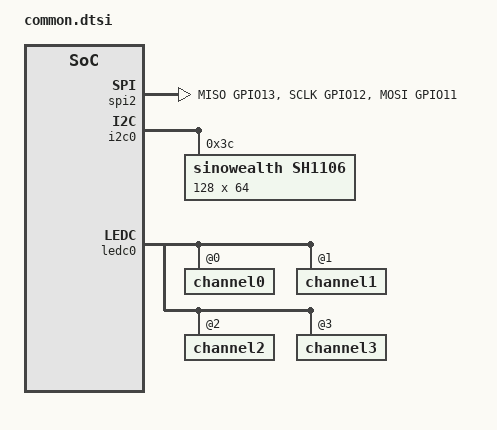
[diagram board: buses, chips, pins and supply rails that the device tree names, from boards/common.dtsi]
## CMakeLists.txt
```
cmake_minimum_required(VERSION 3.20.0)

set(SUPPORTED_MOTOR_CONTROLLERS BTS7960 VICTOR_SPX TALON_SRX JAGUAR_GREY VICTOR_888 VICTOR_884)
set(MOTOR_CONTROLLER "BTS7960")
if(NOT BOARD)
  set(BOARD esp32s3_devkitc/esp32s3/procpu)
endif()
if(EXISTS "${CMAKE_CURRENT_SOURCE_DIR}/local.conf")
  set(LOCAL_CONF_FILE "${CMAKE_CURRENT_SOURCE_DIR}/local.conf")
  set_property(DIRECTORY APPEND PROPERTY CMAKE_CONFIGURE_DEPENDS "${LOCAL_CONF_FILE}")
  file(STRINGS "${LOCAL_CONF_FILE}" MOTOR_CONTROLLER_CONFIG
    REGEX "^CONFIG_APP_MOTOR_CONTROLLER=")
  list(LENGTH MOTOR_CONTROLLER_CONFIG MOTOR_CONTROLLER_CONFIG_COUNT)
  if(MOTOR_CONTROLLER_CONFIG_COUNT GREATER 1)
    message(FATAL_ERROR "local.conf must set CONFIG_APP_MOTOR_CONTROLLER at most once")
  elseif(MOTOR_CONTROLLER_CONFIG_COUNT EQUAL 1)
    list(GET MOTOR_CONTROLLER_CONFIG 0 MOTOR_CONTROLLER_CONFIG_LINE)
    if(NOT MOTOR_CONTROLLER_CONFIG_LINE MATCHES
        "^CONFIG_APP_MOTOR_CONTROLLER=\"([A-Z0-9_]+)\"$")
      message(FATAL_ERROR
        "Set CONFIG_APP_MOTOR_CONTROLLER in local.conf to one quoted supported controller name")
    endif()
    set(MOTOR_CONTROLLER "${CMAKE_MATCH_1}")
  endif()
  list(APPEND EXTRA_CONF_FILE "${CMAKE_CURRENT_SOURCE_DIR}/local.conf")
endif()
if(NOT MOTOR_CONTROLLER IN_LIST SUPPORTED_MOTOR_CONTROLLERS)
  message(FATAL_ERROR
    "Unsupported CONFIG_APP_MOTOR_CONTROLLER='${MOTOR_CONTROLLER}'. Choose one of: ${SUPPORTED_MOTOR_CONTROLLERS}")
endif()

if(MOTOR_CONTROLLER STREQUAL "BTS7960")
  set(DTC_OVERLAY_FILE "${CMAKE_CURRENT_SOURCE_DIR}/boards/bts7960.overlay")
else()
  set(DTC_OVERLAY_FILE "${CMAKE_CURRENT_SOURCE_DIR}/boards/frc_pwm.overlay")
endif()

find_package(Zephyr 4.5.0 EXACT REQUIRED HINTS $ENV{ZEPHYR_BASE})
project(z_valve LANGUAGES C CXX)
target_include_directories(app PRIVATE include)
target_compile_definitions(app PRIVATE MOTOR_CONTROLLER=MOTOR_CONTROLLER_${MOTOR_CONTROLLER})
target_sources(app PRIVATE
  src/main.cpp
  src/valve_hardware.cpp
  src/network.cpp
  src/status_display.cpp)
```

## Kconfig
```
mainmenu "ESP32 four-valve controller"

source "Kconfig.zephyr"

config APP_MOTOR_CONTROLLER
	string "Motor controller model"
	default "BTS7960"
	help
	  Select the motor controller used by all four valves. Set this in
	  local.conf to one of: BTS7960, VICTOR_SPX, TALON_SRX, JAGUAR_GREY,
	  VICTOR_888, or VICTOR_884.

menu "Valve network configuration"

config APP_WIFI_SSID
	string "Wi-Fi SSID"
	default ""

config APP_WIFI_PASSWORD
	string "Wi-Fi WPA2 password (empty for an open network)"
	default ""

config APP_MQTT_HOST
	string "MQTT broker IPv4 address or hostname"
	default ""

config APP_MQTT_PORT
	int "MQTT TCP port"
	range 1 65535
	default 1883

config APP_MQTT_AUTH
	bool "Use MQTT username and password"

config APP_MQTT_USERNAME
	string "MQTT username"
	depends on APP_MQTT_AUTH
	default ""

config APP_MQTT_PASSWORD
	string "MQTT password"
	depends on APP_MQTT_AUTH
	default ""

config APP_MQTT_CLIENT_ID
	string "Unique MQTT client ID"
	default "heater-valves"

config APP_MQTT_ROOT
	string "MQTT root topic (no wildcards or trailing slash)"
	default "heater-valves"

endmenu
```

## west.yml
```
manifest:
  version: "0.13"
  remotes:
    - name: zephyrproject
      url-base: https://github.com/zephyrproject-rtos
  projects:
    - name: zephyr
      remote: zephyrproject
      revision: v4.5.0
      import:
        name-allowlist:
          - hal_espressif
          - mbedtls
          - tf-psa-crypto
  self:
    path: Z-Valve
```

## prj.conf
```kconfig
CONFIG_CPP=y
CONFIG_STD_CPP17=y
CONFIG_GPIO=y
CONFIG_PWM=y
CONFIG_PINCTRL=y
CONFIG_SPI=y
CONFIG_I2C=y
CONFIG_DISPLAY=y
CONFIG_SSD1306=y
CONFIG_CHARACTER_FRAMEBUFFER=y
CONFIG_CHARACTER_FRAMEBUFFER_USE_DEFAULT_FONTS=y
CONFIG_ESP_SPIRAM=n
# Match the N16R8 module's 16 MB flash in the image and flashing configuration.
CONFIG_ESPTOOLPY_FLASHSIZE_16MB=y

CONFIG_WIFI=y
CONFIG_NETWORKING=y
CONFIG_NET_L2_WIFI_MGMT=y
CONFIG_NET_IPV4=y
CONFIG_NET_IPV6=n
CONFIG_NET_DHCPV4=y
CONFIG_NET_MGMT=y
CONFIG_NET_MGMT_EVENT=y
CONFIG_NET_SOCKETS=y
CONFIG_DNS_RESOLVER=y
CONFIG_MQTT_LIB=y
CONFIG_MQTT_KEEPALIVE=30
CONFIG_NET_TCP=y
CONFIG_NET_UDP=y
CONFIG_NET_MAX_CONTEXTS=8
CONFIG_NET_PKT_RX_COUNT=16
CONFIG_NET_PKT_TX_COUNT=16
CONFIG_NET_BUF_RX_COUNT=32
CONFIG_NET_BUF_TX_COUNT=32

CONFIG_MAIN_STACK_SIZE=6144
CONFIG_MAIN_THREAD_PRIORITY=7
CONFIG_SYSTEM_WORKQUEUE_STACK_SIZE=4096
CONFIG_HEAP_MEM_POOL_SIZE=65536
CONFIG_LOG=y
CONFIG_LOG_DEFAULT_LEVEL=3
CONFIG_LOG_MODE_DEFERRED=y
CONFIG_ASSERT=y
CONFIG_THREAD_NAME=y
CONFIG_SYS_CLOCK_TICKS_PER_SEC=1000
```

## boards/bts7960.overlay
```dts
#include "common.dtsi"

&valve1 {
    pwms = <&ledc0 0 PWM_USEC(50) PWM_POLARITY_NORMAL>,
           <&ledc0 1 PWM_USEC(50) PWM_POLARITY_NORMAL>;
    enable-gpios = <&gpio0 17 GPIO_ACTIVE_HIGH>;
};
&valve2 {
    pwms = <&ledc0 2 PWM_USEC(50) PWM_POLARITY_NORMAL>,
           <&ledc0 3 PWM_USEC(50) PWM_POLARITY_NORMAL>;
    enable-gpios = <&gpio0 18 GPIO_ACTIVE_HIGH>;
};
&valve3 {
    pwms = <&ledc0 4 PWM_USEC(50) PWM_POLARITY_NORMAL>,
           <&ledc0 5 PWM_USEC(50) PWM_POLARITY_NORMAL>;
    enable-gpios = <&gpio0 19 GPIO_ACTIVE_HIGH>;
};
&valve4 {
    pwms = <&ledc0 6 PWM_USEC(50) PWM_POLARITY_NORMAL>,
           <&ledc0 7 PWM_USEC(50) PWM_POLARITY_NORMAL>;
    enable-gpios = <&gpio0 20 GPIO_ACTIVE_HIGH>;
};
&pinctrl {
    valve_pwm: valve_pwm {
        group1 {
            pinmux = <LEDC_CH0_GPIO4>, <LEDC_CH1_GPIO5>,
                     <LEDC_CH2_GPIO6>, <LEDC_CH3_GPIO7>,
                     <LEDC_CH4_GPIO8>, <LEDC_CH5_GPIO9>,
                     <LEDC_CH6_GPIO15>, <LEDC_CH7_GPIO16>;
            output-enable;
        };
    };
};
&ledc0 {
    pinctrl-0 = <&valve_pwm>;
    pinctrl-names = "default";
};
&ledc0 {
    channel4@4 { reg = <4>; timer = <0>; };
    channel5@5 { reg = <5>; timer = <0>; };
    channel6@6 { reg = <6>; timer = <0>; };
    channel7@7 { reg = <7>; timer = <0>; };
};
```

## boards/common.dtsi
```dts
#include <zephyr/dt-bindings/gpio/gpio.h>
#include <zephyr/dt-bindings/pwm/pwm.h>
#include <zephyr/dt-bindings/pinctrl/esp-pinctrl-common.h>
#include <dt-bindings/pinctrl/esp32s3-pinctrl.h>
#include <zephyr/dt-bindings/pinctrl/esp32s3-gpio-sigmap.h>

/* N16R8 exposes GPIO0-21 and GPIO38-48; reserve pads not available as GPIO. */
&gpio0 {
    gpio-reserved-ranges = <22 10>;
};
&gpio1 {
    gpio-reserved-ranges = <0 6>, <17 5>;
};

/* The module has 8 MB OPI PSRAM, but the application does not need external RAM. */
&flash0 {
    reg = <0x0 0x01000000>;
};
&psram0 {
    size = <0x00800000>;
    status = "disabled";
};

&spi2 {
    status = "okay";
    pinctrl-0 = <&spi2_reserved_pins>;
    pinctrl-names = "default";
    cs-gpios = <&gpio0 10 GPIO_ACTIVE_LOW>;
    #address-cells = <1>;
    #size-cells = <0>;
};
&spi3 { status = "disabled"; };
&esp32_bt_hci { status = "disabled"; };

/ {
    chosen {
        zephyr,display = &sh1106;
    };

    /* Provisional active-low IRQ placeholder; confirm polarity for the future SPI peripheral. */
    spi_device_irq: spi-device-irq {
        gpios = <&gpio0 14 GPIO_ACTIVE_LOW>;
    };
};

&i2c0 {
    status = "okay";

    sh1106: sh1106@3c {
        compatible = "sinowealth,sh1106";
        reg = <0x3c>;
        width = <128>;
        height = <64>;
        segment-offset = <2>;
        page-offset = <0>;
        display-offset = <0>;
        multiplex-ratio = <63>;
        segment-remap;
        com-invdir;
        prechargep = <0x22>;
    };
};

&pinctrl {
    spi2_reserved_pins: spi2_reserved_pins {
        group1 {
            pinmux = <SPIM2_MISO_GPIO13>,
                     <SPIM2_SCLK_GPIO12>;
        };
        group2 {
            pinmux = <SPIM2_MOSI_GPIO11>;
            output-low;
        };
        group3 {
            pinmux = <ESP32_PINMUX(10, ESP_NOSIG, ESP_NOSIG)>;
            output-high;
        };
        group4 {
            pinmux = <ESP32_PINMUX(14, ESP_NOSIG, ESP_NOSIG)>;
            input-enable;
        };
    };
};

/ {
    valves {
        valve1: valve1 {
            compatible = "valve-controller";
            open-limit-gpios = <&gpio1 7 GPIO_ACTIVE_LOW>;
            closed-limit-gpios = <&gpio1 8 GPIO_ACTIVE_LOW>;
        };
        valve2: valve2 {
            compatible = "valve-controller";
            open-limit-gpios = <&gpio1 9 GPIO_ACTIVE_LOW>;
            closed-limit-gpios = <&gpio1 10 GPIO_ACTIVE_LOW>;
        };
        valve3: valve3 {
            compatible = "valve-controller";
            open-limit-gpios = <&gpio1 15 GPIO_ACTIVE_LOW>;
            closed-limit-gpios = <&gpio1 16 GPIO_ACTIVE_LOW>;
        };
        valve4: valve4 {
            compatible = "valve-controller";
            open-limit-gpios = <&gpio0 21 GPIO_ACTIVE_LOW>;
            closed-limit-gpios = <&gpio1 6 GPIO_ACTIVE_LOW>;
        };
    };
};

&ledc0 {
    status = "okay";
    #address-cells = <1>;
    #size-cells = <0>;
    channel0@0 { reg = <0>; timer = <0>; };
    channel1@1 { reg = <1>; timer = <0>; };
    channel2@2 { reg = <2>; timer = <0>; };
    channel3@3 { reg = <3>; timer = <0>; };
};
```

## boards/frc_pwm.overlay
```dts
#include "common.dtsi"

/* Runtime periods and calibrated pulses come from motor_output.h. */
&valve1 { pwms = <&ledc0 0 PWM_USEC(5050) PWM_POLARITY_NORMAL>; };
&valve2 { pwms = <&ledc0 1 PWM_USEC(5050) PWM_POLARITY_NORMAL>; };
&valve3 { pwms = <&ledc0 2 PWM_USEC(5050) PWM_POLARITY_NORMAL>; };
&valve4 { pwms = <&ledc0 3 PWM_USEC(5050) PWM_POLARITY_NORMAL>; };
&pinctrl {
    valve_pwm: valve_pwm {
        group1 {
            pinmux = <LEDC_CH0_GPIO4>, <LEDC_CH1_GPIO6>,
                     <LEDC_CH2_GPIO8>, <LEDC_CH3_GPIO15>;
            output-enable;
        };
    };
};
&ledc0 {
    pinctrl-0 = <&valve_pwm>;
    pinctrl-names = "default";
};
```

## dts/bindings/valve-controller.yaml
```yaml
description: One bidirectional valve and its active-low end stops
compatible: "valve-controller"
include: base.yaml
properties:
  pwms:
    type: phandle-array
    required: true
    description: RPWM and LPWM for BTS7960, or one RC PWM signal
  enable-gpios:
    type: phandle-array
    description: One output driving both enables of a BTS7960 module
  open-limit-gpios:
    type: phandle-array
    required: true
  closed-limit-gpios:
    type: phandle-array
    required: true
  open-counterclockwise:
    type: boolean
    description: Reverse this valve's logical opening direction
```

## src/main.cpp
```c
#include <zephyr/kernel.h>
#include <zephyr/logging/log.h>

#include "network.h"
#include "status_display.h"
#include "valve_hardware.h"

LOG_MODULE_REGISTER(valve_main, LOG_LEVEL_INF);

namespace {
K_THREAD_STACK_DEFINE(motorStack, 3072);
K_THREAD_STACK_DEFINE(displayStack, 3072);
k_thread motorThreadData;
k_thread displayThreadData;
}

/*
 * Initialize valve hardware, start the high-priority motor supervisor, then manage networking.
 * If safe hardware initialization fails, return before any network command can be accepted.
 */
int main() {
    const int result = hardware::initialize();
    if (result < 0) {
        LOG_ERR("Valve initialization failed (%d); networking and motion disabled", result);
        return result;
    }

    /* Keep motor and limit supervision on its own priority-2 thread so network work cannot stall it. */
    k_tid_t tid = k_thread_create(&motorThreadData, motorStack,
        K_THREAD_STACK_SIZEOF(motorStack), hardware::motorThread,
        nullptr, nullptr, nullptr, K_PRIO_PREEMPT(2), 0, K_NO_WAIT);
    k_thread_name_set(tid, "valve-motors");

    /* Keep display I2C transfers below both motor supervision and network work. */
    tid = k_thread_create(&displayThreadData, displayStack,
        K_THREAD_STACK_SIZEOF(displayStack), status_display::thread,
        nullptr, nullptr, nullptr, K_PRIO_PREEMPT(8), 0, K_NO_WAIT);
    k_thread_name_set(tid, "status-display");

    /* The network manager owns the main thread; it never returns during normal operation. */
    runNetwork();
    return 0;
}
```

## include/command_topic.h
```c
#pragma once

#include "valve_control.h"

namespace valve {

/*
 * Match a valve command topic without assuming the incoming topic is NUL-terminated.
 * Args:
 * topic - topic bytes.
 * length - topic size in bytes.
 * root - configured topic prefix.
 * Returns: Zero-based valve index, or -1 when the topic is not a valve command.
 */
inline int commandValve(const uint8_t *topic, size_t length, const char *root) {
    const size_t prefix = strlen(root);
    if (length != prefix + 7 && length != prefix + 11) return -1;
    if (memcmp(topic, root, prefix) != 0 ||
        memcmp(topic + prefix, "/valve", 6) != 0 ||
        topic[prefix + 6] < '1' || topic[prefix + 6] > '4') return -1;
    if (length == prefix + 11 && memcmp(topic + prefix + 7, "/set", 4) != 0) return -1;
    return topic[prefix + 6] - '1';
}

}
```

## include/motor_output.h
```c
#pragma once

#include "valve_control.h"

#define MOTOR_CONTROLLER_BTS7960 1
#define MOTOR_CONTROLLER_VICTOR_SPX 2
#define MOTOR_CONTROLLER_TALON_SRX 3
#define MOTOR_CONTROLLER_JAGUAR_GREY 4
#define MOTOR_CONTROLLER_VICTOR_888 5
#define MOTOR_CONTROLLER_VICTOR_884 6

#ifndef MOTOR_CONTROLLER
#define MOTOR_CONTROLLER MOTOR_CONTROLLER_BTS7960
#endif

#if MOTOR_CONTROLLER != MOTOR_CONTROLLER_BTS7960 && \
    MOTOR_CONTROLLER != MOTOR_CONTROLLER_VICTOR_SPX && \
    MOTOR_CONTROLLER != MOTOR_CONTROLLER_TALON_SRX && \
    MOTOR_CONTROLLER != MOTOR_CONTROLLER_JAGUAR_GREY && \
    MOTOR_CONTROLLER != MOTOR_CONTROLLER_VICTOR_888 && \
    MOTOR_CONTROLLER != MOTOR_CONTROLLER_VICTOR_884
#error "Select a supported MOTOR_CONTROLLER_* value"
#endif

#ifndef FRC_PWM_SPEED_PERMILLE
#define FRC_PWM_SPEED_PERMILLE 1000
#endif

namespace motor {

constexpr bool kBts7960 = MOTOR_CONTROLLER == MOTOR_CONTROLLER_BTS7960;

#if MOTOR_CONTROLLER == MOTOR_CONTROLLER_JAGUAR_GREY
constexpr uint32_t kDefaultReverseUs = 697; // Reverse-command pulse width (us).
constexpr uint32_t kDefaultNeutralUs = 1507; // Neutral/stop pulse width (us).
constexpr uint32_t kDefaultForwardUs = 2310; // Forward-command pulse width (us).
constexpr uint32_t kDefaultPeriodUs = 5050; // PWM frame: 5.05 ms, approximately 198 Hz.
#elif MOTOR_CONTROLLER == MOTOR_CONTROLLER_VICTOR_888 || \
      MOTOR_CONTROLLER == MOTOR_CONTROLLER_VICTOR_884
constexpr uint32_t kDefaultReverseUs = 1026; // Reverse-command pulse width (us).
constexpr uint32_t kDefaultNeutralUs = 1507; // Neutral/stop pulse width (us).
constexpr uint32_t kDefaultForwardUs = 2027; // Forward-command pulse width (us).
constexpr uint32_t kDefaultPeriodUs = 10100; // PWM frame: 10.1 ms, approximately 99 Hz.
#else
constexpr uint32_t kDefaultReverseUs = 997; // Reverse-command pulse width (us).
constexpr uint32_t kDefaultNeutralUs = 1500; // Neutral/stop pulse width (us).
constexpr uint32_t kDefaultForwardUs = 2004; // Forward-command pulse width (us).
constexpr uint32_t kDefaultPeriodUs = 5050; // PWM frame: 5.05 ms, approximately 198 Hz.
#endif

#ifndef FRC_PWM_PERIOD_US
#define FRC_PWM_PERIOD_US motor::kDefaultPeriodUs
#endif
#ifndef FRC_PWM_REVERSE_US
#define FRC_PWM_REVERSE_US motor::kDefaultReverseUs
#endif
#ifndef FRC_PWM_NEUTRAL_US
#define FRC_PWM_NEUTRAL_US motor::kDefaultNeutralUs
#endif
#ifndef FRC_PWM_FORWARD_US
#define FRC_PWM_FORWARD_US motor::kDefaultForwardUs
#endif

constexpr uint32_t kPwmFrequencyHz = kBts7960 ? 20000 :
    (1000000UL + FRC_PWM_PERIOD_US / 2) / FRC_PWM_PERIOD_US;
// ESP32 LEDC selects integer Hz; use that same frame when calculating pulse duty.
constexpr uint32_t kPeriodNs = 1000000000UL / kPwmFrequencyHz;
constexpr uint32_t kReverseUs = FRC_PWM_REVERSE_US;
constexpr uint32_t kNeutralUs = FRC_PWM_NEUTRAL_US;
constexpr uint32_t kForwardUs = FRC_PWM_FORWARD_US;
constexpr uint32_t kSpeedPermille = FRC_PWM_SPEED_PERMILLE;
constexpr uint32_t kReversalDelayMs = 100;
constexpr uint32_t kMaxTravelMs = 120000;
constexpr uint32_t kStatusIntervalMs = 60000;
constexpr unsigned kValveCount = 4;
constexpr uint32_t kMotorDuty = 255;
constexpr uint32_t kMotorPulseNs = kPeriodNs * kMotorDuty / 255;

constexpr const char *kControllerName =
#if MOTOR_CONTROLLER == MOTOR_CONTROLLER_BTS7960
    "BTS7960";
#elif MOTOR_CONTROLLER == MOTOR_CONTROLLER_VICTOR_SPX
    "Victor SPX";
#elif MOTOR_CONTROLLER == MOTOR_CONTROLLER_TALON_SRX
    "Talon SRX";
#elif MOTOR_CONTROLLER == MOTOR_CONTROLLER_JAGUAR_GREY
    "Jaguar Grey (MDL-BDC24)";
#elif MOTOR_CONTROLLER == MOTOR_CONTROLLER_VICTOR_888
    "Victor 888";
#else
    "Victor 884";
#endif

static_assert(kMotorDuty > 0 && kMotorDuty <= 255, "Invalid BTS7960 duty");
static_assert(FRC_PWM_PERIOD_US >= 5000 && FRC_PWM_PERIOD_US <= 30000,
              "RC PWM frame must be 5-30 ms");
static_assert(kReverseUs >= 500 && kReverseUs < kNeutralUs &&
              kNeutralUs < kForwardUs && kForwardUs <= 2500 &&
              kForwardUs * 1000 < FRC_PWM_PERIOD_US * 1000, "Invalid RC PWM calibration");
static_assert(kSpeedPermille > 0 && kSpeedPermille <= 1000, "Invalid RC PWM speed");

struct Output {
    uint32_t primaryNs;
    uint32_t secondaryNs;
    bool enabled;
};

/*
 * Map logical valve motion and opening direction to motor-driver outputs.
 * Args:
 * motion - requested motion.
 * openClockwise - whether opening is clockwise.
 * Returns: PWM pulse widths in ns and whether the output should be enabled.
 */
inline Output outputFor(valve::Motion motion, bool openClockwise) {
    const bool clockwise = (motion == valve::Motion::Opening) == openClockwise;
    if (kBts7960) {
        if (motion == valve::Motion::Stopped) return {0, 0, false};
        return {clockwise ? kMotorPulseNs : 0, clockwise ? 0 : kMotorPulseNs, true};
    }
    uint32_t pulseUs = kNeutralUs;
    if (motion != valve::Motion::Stopped) {
        pulseUs = clockwise
            ? kNeutralUs + (kForwardUs - kNeutralUs) * kSpeedPermille / 1000
            : kNeutralUs - (kNeutralUs - kReverseUs) * kSpeedPermille / 1000;
    }
    return {pulseUs * 1000, 0, motion != valve::Motion::Stopped};
}

}
```

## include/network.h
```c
#pragma once

#include <stdint.h>

namespace network {

struct DisplaySnapshot {
    bool wifiUp = false;
    bool mqttUp = false;
    uint8_t ipv4[4]{};
};

/*
 * Return the last observed network state and a copied IPv4 address for display.
 * Returns: Wi-Fi/MQTT readiness and the preferred IPv4 address, if available.
 */
DisplaySnapshot displaySnapshot();

}

/*
 * Run Wi-Fi and MQTT connection management, command reception, and status reporting.
 * Args: None.
 * Returns: None; the network manager runs indefinitely.
 */
void runNetwork();
```

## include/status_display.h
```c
#pragma once

#include <stdint.h>
#include <stdio.h>
#include <string.h>

#include "valve_control.h"

namespace status_display {

constexpr unsigned kLineCount = 4;
constexpr unsigned kLineBufferSize = 20;

/*
 * Map a valve state to the short label used on the display.
 * Args: status - latest valve state.
 * Returns: A static abbreviated status label.
 */
inline const char *motorLabel(valve::Status status) {
    switch (status) {
    case valve::Status::Open: return "Opn";
    case valve::Status::Closed: return "Clsd";
    case valve::Status::Error: return "ERR";
    case valve::Status::Opening:
    case valve::Status::Closing: return "Mov";
    default: return "Unk";
    }
}

/*
 * Format the IP, MQTT, and four per-valve statuses into four 128-pixel display rows.
 * Args: wifiUp/mqttUp - connection state; ipv4 - address octets; motorStatuses - four valve states;
 * lines - receives the four null-terminated display rows.
 * Returns: None.
 */
inline void formatLines(bool wifiUp, bool mqttUp, const uint8_t ipv4[4],
                        const valve::Status *motorStatuses,
                        char (&lines)[kLineCount][kLineBufferSize]) {
    if (wifiUp) {
        snprintf(lines[0], kLineBufferSize, "%u.%u.%u.%u",
                 static_cast<unsigned>(ipv4[0]), static_cast<unsigned>(ipv4[1]),
                 static_cast<unsigned>(ipv4[2]), static_cast<unsigned>(ipv4[3]));
    } else {
        strcpy(lines[0], "Down");
    }
    snprintf(lines[1], kLineBufferSize, "MQTT %s", wifiUp && mqttUp ? "Up" : "Down");
    snprintf(lines[2], kLineBufferSize, "M1:%s M2:%s",
             motorLabel(motorStatuses[0]), motorLabel(motorStatuses[1]));
    snprintf(lines[3], kLineBufferSize, "M3:%s M4:%s",
             motorLabel(motorStatuses[2]), motorLabel(motorStatuses[3]));
}

/*
 * Initialize the SH1106 and refresh it when network or motor state changes and once a minute.
 * Args: p1, p2, p3 - unused Zephyr thread-entry parameters.
 * Returns: None; the display thread runs until initialization fails or the system stops.
 */
void thread(void *, void *, void *);

}
```

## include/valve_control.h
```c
#pragma once

#include <stddef.h>
#include <stdint.h>
#include <string.h>

namespace valve {

enum class Command : uint8_t { Invalid, Open, Close };
enum class Motion : uint8_t { Stopped, Opening, Closing };
enum class Status : uint8_t { Unknown, Open, Closed, Opening, Closing, Error };

struct Limits {
    bool open;
    bool closed;
};

/*
 * Parse an exact lowercase open/close MQTT command payload.
 * Args:
 * payload - payload bytes.
 * length - payload size in bytes.
 * Returns: The parsed command, or Command::Invalid if it is unsupported.
 */
inline Command parseCommand(const uint8_t *payload, size_t length) {
    if ((length == 4 && memcmp(payload, "open", 4) == 0) ||
        (length == 2 && memcmp(payload, "on", 2) == 0)) {
        return Command::Open;
    }
    if ((length == 5 && memcmp(payload, "close", 5) == 0) ||
        (length == 3 && memcmp(payload, "off", 3) == 0)) {
        return Command::Close;
    }
    return Command::Invalid;
}

/*
 * Return the stable MQTT text corresponding to a valve status.
 * Args: status - valve status to convert.
 * Returns: A pointer to a static, null-terminated status string.
 */
inline const char *statusName(Status status) {
    switch (status) {
    case Status::Open: return "open";
    case Status::Closed: return "closed";
    case Status::Opening: return "opening";
    case Status::Closing: return "closing";
    case Status::Error: return "error";
    default: return "unknown";
    }
}

// Port of the Arduino controller's independent, rollover-safe motion state machine.
class Control {
public:
    /*
     * Configure the minimum stopped interval for reversals and maximum travel time.
     * Args:
     * reversalDelayMs - minimum stopped time.
     * maxTravelMs - maximum continuous travel.
     * Returns: None.
     */
    explicit Control(uint32_t reversalDelayMs = 100, uint32_t maxTravelMs = 120000)
        : reversalDelayMs_(reversalDelayMs), maxTravelMs_(maxTravelMs) {}

    /*
     * Apply a new motion request after enforcing current limits and travel timeout.
     * Args:
     * command - requested direction.
     * limits - sampled end stops.
     * now - current uptime in ms.
     * Returns: None.
     */
    void request(Command command, Limits limits, uint32_t now) {
        update(limits, now);
        if (command == Command::Invalid) {
            return;
        }
        const Motion requested = command == Command::Open ? Motion::Opening : Motion::Closing;
        if (blocked(requested, limits)) {
            stop(now);
            return;
        }
        if (motion_ == requested) {
            return;
        }
        stop(now);
        pending_ = requested;
        update(limits, now);
    }

    /*
     * Enforce end stops, conflicts, travel timeout, and any pending reversal.
     * Args:
     * limits - sampled end stops.
     * now - current uptime in ms.
     * Returns: None.
     */
    void update(Limits limits, uint32_t now) {
        if ((limits.open && limits.closed) || blocked(motion_, limits) ||
            blocked(pending_, limits)) {
            stop(now);
            return;
        }
        if (motion_ != Motion::Stopped && now - startedAt_ >= maxTravelMs_) {
            stop(now);
            return;
        }
        if (pending_ != Motion::Stopped && now - stoppedAt_ >= reversalDelayMs_) {
            motion_ = pending_;
            pending_ = Motion::Stopped;
            startedAt_ = now;
        }
    }

    /*
     * Read the currently applied motion direction.
     * Args: None.
     * Returns: The current motion state.
     */
    Motion motion() const { return motion_; }

    /*
     * Determine valve status, giving physical end stops priority over motion.
     * Args: limits - sampled end stops.
     * Returns: The reported valve status.
     */
    Status status(Limits limits) const {
        if (limits.open && limits.closed) return Status::Error;
        if (limits.open) return Status::Open;
        if (limits.closed) return Status::Closed;
        if (motion_ == Motion::Opening) return Status::Opening;
        if (motion_ == Motion::Closing) return Status::Closing;
        return Status::Unknown;
    }

private:
    /*
     * Check whether a direction is blocked by its destination end stop.
     * Args:
     * motion - direction to check.
     * limits - sampled end stops.
     * Returns: True when the destination limit blocks the direction.
     */
    static bool blocked(Motion motion, Limits limits) {
        return (motion == Motion::Opening && limits.open) ||
               (motion == Motion::Closing && limits.closed);
    }

    /*
     * Stop active and pending motion while recording the stop time when needed.
     * Args: now - current uptime in ms.
     * Returns: None.
     */
    void stop(uint32_t now) {
        if (motion_ != Motion::Stopped) {
            stoppedAt_ = now;
        }
        motion_ = Motion::Stopped;
        pending_ = Motion::Stopped;
    }

    Motion motion_ = Motion::Stopped;
    Motion pending_ = Motion::Stopped;
    uint32_t startedAt_ = 0;
    uint32_t stoppedAt_ = 0;
    const uint32_t reversalDelayMs_;
    const uint32_t maxTravelMs_;
};

}
```

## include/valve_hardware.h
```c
#pragma once

#include "motor_output.h"

namespace hardware {

/*
 * Check required GPIO/PWM devices and initialize all valve outputs and limit inputs.
 * Args: None.
 * Returns: Zero on success or a negative errno value on failure.
 */
int initialize();

/*
 * Continuously supervise valve commands, limits, and motor outputs.
 * Args:
 * p1 - unused Zephyr thread-entry parameter.
 * p2 - unused Zephyr thread-entry parameter.
 * p3 - unused Zephyr thread-entry parameter.
 * Returns: None; the supervisor thread runs indefinitely.
 */
void motorThread(void *, void *, void *);

/*
 * Submit the latest command for one valve to the motor supervisor.
 * Args:
 * index - zero-based valve index.
 * command - requested valve command.
 * Returns: None.
 */
void submit(unsigned index, valve::Command command);

/*
 * Read the most recently sampled status for one valve.
 * Args: index - zero-based valve index.
 * Returns: The latest valve status.
 */
valve::Status status(unsigned index);

}
```

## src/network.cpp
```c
#include <stdio.h>
#include <string.h>

#include <zephyr/kernel.h>
#include <zephyr/logging/log.h>
#include <zephyr/net/dhcpv4.h>
#include <zephyr/net/mqtt.h>
#include <zephyr/net/net_event.h>
#include <zephyr/net/net_if.h>
#include <zephyr/net/socket.h>
#include <zephyr/net/wifi_mgmt.h>
#include <zephyr/sys/atomic.h>

#include "command_topic.h"
#include "network.h"
#include "valve_hardware.h"

LOG_MODULE_REGISTER(valve_network, LOG_LEVEL_INF);

namespace {

constexpr char root[] = CONFIG_APP_MQTT_ROOT;
constexpr char availability[] = CONFIG_APP_MQTT_ROOT "/availability";
constexpr int64_t reconnectMs = 5000;
static_assert(sizeof(root) <= 80, "MQTT root must be at most 79 characters");

net_mgmt_event_callback wifiCallback;
atomic_t wifiConnected;
atomic_t mqttReady;
net_if *wifiInterface;
mqtt_client client;
sockaddr_in broker;
uint8_t rxBuffer[512];
uint8_t txBuffer[512];
bool connected;
bool subscribed;
int sessionError;
int64_t pingDeadline;
unsigned nextValve;
int64_t nextPeriodic;
valve::Status published[motor::kValveCount];
bool publishedValid[motor::kValveCount];
K_MUTEX_DEFINE(displayStatusMutex);
network::DisplaySnapshot publishedDisplayStatus;

/*
 * Convert a NUL-terminated application string to the length-delimited MQTT representation.
 * Args: text - source string whose storage must remain valid while the MQTT object is in use.
 * Returns: MQTT UTF-8 view of the string; it does not copy the bytes.
 */
mqtt_utf8 utf8(const char *text) {
    return {reinterpret_cast<const uint8_t *>(text), static_cast<uint32_t>(strlen(text))};
}

/*
 * Track station connection events and start/stop DHCP with the link.
 * Args: callback - event callback carrying the Wi-Fi result; event - event identifier;
 * iface - interface that generated the event.
 * Returns: None.
 */
void wifiEvent(net_mgmt_event_callback *callback, uint64_t event, net_if *iface) {
    if (iface != wifiInterface) return;
    if (event == NET_EVENT_WIFI_CONNECT_RESULT) {
        const auto *result = static_cast<const wifi_status *>(callback->info);
        if (result == nullptr || result->status != 0) {
            atomic_clear(&wifiConnected);
            atomic_clear(&mqttReady);
            LOG_WRN("Wi-Fi connection failed: %d", result ? result->status : -EIO);
            return;
        }
        atomic_set(&wifiConnected, 1);
        /* DHCP starts only after successful association; a link alone is not broker-ready. */
        net_dhcpv4_start(iface);
        LOG_INF("Wi-Fi connected; waiting for DHCP");
    } else if (event == NET_EVENT_WIFI_DISCONNECT_RESULT) {
        atomic_clear(&wifiConnected);
        atomic_clear(&mqttReady);
        /* Stop DHCP so an old lease is not mistaken for a usable connection. */
        net_dhcpv4_stop(iface);
        LOG_WRN("Wi-Fi disconnected");
    }
}

/*
 * Require both an associated Wi-Fi link and a preferred IPv4 address before opening MQTT.
 * Args: None.
 * Returns: True when the station can route broker traffic.
 */
bool networkReady() {
    if (wifiInterface == nullptr || atomic_get(&wifiConnected) == 0) return false;
    const in_addr *address = net_if_ipv4_get_global_addr(wifiInterface, NET_ADDR_PREFERRED);
    return address != nullptr && !net_ipv4_is_addr_unspecified(address);
}

/*
 * Cache Wi-Fi/IP status under a mutex for the lower-priority display thread.
 * Args: None.
 * Returns: None.
 */
void updateDisplaySnapshot() {
    network::DisplaySnapshot snapshot{};
    if (networkReady()) {
        const in_addr *address = net_if_ipv4_get_global_addr(wifiInterface, NET_ADDR_PREFERRED);
        if (address != nullptr && !net_ipv4_is_addr_unspecified(address)) {
            snapshot.wifiUp = true;
            memcpy(snapshot.ipv4, address->s4_addr, sizeof(snapshot.ipv4));
        }
    }
    k_mutex_lock(&displayStatusMutex, K_FOREVER);
    publishedDisplayStatus = snapshot;
    k_mutex_unlock(&displayStatusMutex);
}

/*
 * Request a station connection using the configured open-network or WPA2 credentials.
 * Args: None.
 * Returns: None; request failures are logged and retried by runNetwork.
 */
void requestWifi() {
    wifi_connect_req_params params{};
    params.ssid = reinterpret_cast<const uint8_t *>(CONFIG_APP_WIFI_SSID);
    params.ssid_length = strlen(CONFIG_APP_WIFI_SSID);
    params.psk = reinterpret_cast<const uint8_t *>(CONFIG_APP_WIFI_PASSWORD);
    params.psk_length = strlen(CONFIG_APP_WIFI_PASSWORD);
    params.channel = WIFI_CHANNEL_ANY;
    params.band = WIFI_FREQ_BAND_2_4_GHZ;
    params.security = params.psk_length ? WIFI_SECURITY_TYPE_PSK : WIFI_SECURITY_TYPE_NONE;
    params.mfp = WIFI_MFP_OPTIONAL;
    params.timeout = 10;
    const int result = net_mgmt(NET_REQUEST_WIFI_CONNECT, wifiInterface, &params, sizeof(params));
    if (result < 0 && result != -EALREADY) LOG_WRN("Wi-Fi request failed: %d", result);
}

/*
 * Publish a retained QoS 0 text value, used for availability and valve states.
 * Args: topic - destination topic; text - NUL-terminated payload.
 * Returns: Zero on success or a negative MQTT error.
 */
int publishText(const char *topic, const char *text) {
    uint8_t payload[16];
    const size_t length = strlen(text);
    if (length > sizeof(payload)) return -EMSGSIZE;
    memcpy(payload, text, length);
    mqtt_publish_param param{};
    param.message.topic.topic = utf8(topic);
    param.message.topic.qos = MQTT_QOS_0_AT_MOST_ONCE;
    param.message.payload = {payload, static_cast<uint32_t>(length)};
    param.retain_flag = 1;
    return mqtt_publish(&client, &param);
}

/*
 * Read a complete fragmented publish payload before the MQTT stream is used again.
 * Args: payload - destination buffer; length - exact payload size to read.
 * Returns: Zero when complete, or a negative socket/MQTT error or timeout.
 */
int readPayload(uint8_t *payload, size_t length) {
    size_t read = 0;
    const int64_t deadline = k_uptime_get() + 1000;
    while (read < length) {
        const int result = mqtt_read_publish_payload(&client, payload + read, length - read);
        if (result > 0) {
            read += result;
        } else if (result == 0) {
            return -ECONNRESET;
        } else if (result != -EAGAIN) {
            return result;
        } else {
            if (k_uptime_get() >= deadline) return -ETIMEDOUT;
            zsock_pollfd fd{client.transport.tcp.sock, ZSOCK_POLLIN, 0};
            const int polled = zsock_poll(&fd, 1, 50);
            if (polled < 0) return -errno;
            if (fd.revents & (ZSOCK_POLLERR | ZSOCK_POLLHUP | ZSOCK_POLLNVAL)) {
                return -ECONNRESET;
            }
        }
    }
    return 0;
}

/*
 * Match, validate, and queue one valve command, acknowledging QoS 1 only after reading it.
 * Args: param - decoded MQTT publish metadata and payload length.
 * Returns: None; a fatal read/ack error is recorded in sessionError.
 */
void receiveCommand(const mqtt_publish_param &param) {
    const mqtt_utf8 &topic = param.message.topic.topic;
    const int index = valve::commandValve(topic.utf8, topic.size, root);
    /* Disconnect on unsupported QoS or oversized input rather than desynchronizing MQTT payload reads. */
    if (param.message.payload.len > sizeof(rxBuffer) ||
        param.message.topic.qos > MQTT_QOS_1_AT_LEAST_ONCE) {
        LOG_WRN("Rejecting oversized command or unexpected QoS");
        sessionError = -EMSGSIZE;
        return;
    }
    uint8_t payload[sizeof(rxBuffer)]{};
    sessionError = readPayload(payload, param.message.payload.len);
    if (sessionError < 0) return;
    const valve::Command command = valve::parseCommand(payload, param.message.payload.len);
    if (index >= 0 && command != valve::Command::Invalid) {
        if (param.retain_flag) LOG_WRN("Retained command replay received; clear retained commands");
        hardware::submit(static_cast<unsigned>(index), command);
    } else if (index >= 0) {
        LOG_WRN("Ignoring invalid command topic or payload");
    }
    if (param.message.topic.qos == MQTT_QOS_1_AT_LEAST_ONCE) {
        /* Acknowledge only after consuming the payload, so redelivery remains possible on read failure. */
        mqtt_puback_param ack{};
        ack.message_id = param.message_id;
        sessionError = mqtt_publish_qos1_ack(&client, &ack);
    }
}

/*
 * Update connection/subscription state and dispatch incoming publishes.
 * Args: client - MQTT client associated with the event; event - decoded event and result.
 * Returns: None; errors are saved for serviceMqtt to terminate the session.
 */
void mqttEvent(mqtt_client *, const mqtt_evt *event) {
    if (event->result != 0) {
        atomic_clear(&mqttReady);
        sessionError = event->result < 0 ? event->result : -ECONNREFUSED;
        return;
    }
    switch (event->type) {
    case MQTT_EVT_CONNACK:
        if (event->param.connack.return_code != MQTT_CONNECTION_ACCEPTED) {
            atomic_clear(&mqttReady);
            sessionError = -ECONNREFUSED;
        } else {
            connected = true;
        }
        break;
    case MQTT_EVT_DISCONNECT:
        connected = false;
        atomic_clear(&mqttReady);
        sessionError = -ECONNRESET;
        break;
    case MQTT_EVT_SUBACK: {
        const mqtt_binstr &codes = event->param.suback.return_codes;
        /* Require both command filters to be accepted before publishing availability or state. */
        if (event->param.suback.message_id != 1 || codes.len != 2 ||
            codes.data[0] > MQTT_SUBACK_SUCCESS_QoS_1 ||
            codes.data[1] > MQTT_SUBACK_SUCCESS_QoS_1) {
            LOG_ERR("Broker rejected command subscriptions");
            atomic_clear(&mqttReady);
            sessionError = -EACCES;
        } else {
            subscribed = true;
        }
        break;
    }
    case MQTT_EVT_PUBLISH:
        receiveCommand(event->param.publish);
        break;
    default:
        break;
    }
}

/*
 * Poll the MQTT socket without blocking valve supervision, then process packets and keepalive.
 * Args: None.
 * Returns: Zero while healthy, or a negative error to end and reconnect the session.
 */
int serviceMqtt() {
    if (!networkReady()) return -ENETDOWN;
    zsock_pollfd fd{client.transport.tcp.sock, ZSOCK_POLLIN, 0};
    const int result = zsock_poll(&fd, 1, 100);
    if (result < 0) return -errno;
    if (fd.revents & (ZSOCK_POLLERR | ZSOCK_POLLHUP | ZSOCK_POLLNVAL)) return -ECONNRESET;
    if (fd.revents & ZSOCK_POLLIN) {
        const int input = mqtt_input(&client);
        if (input < 0 && input != -EAGAIN) return input;
    }
    if (sessionError < 0) return sessionError;
    if (connected) {
        /* mqtt_live sends keepalives; bound the time spent waiting for a broker ping response. */
        if (client.unacked_ping == 0) pingDeadline = 0;
        if (pingDeadline != 0 && k_uptime_get() >= pingDeadline) return -ETIMEDOUT;
        const int live = mqtt_live(&client);
        if (live < 0 && live != -EAGAIN) return live;
        if (client.unacked_ping > 0 && pingDeadline == 0) {
            pingDeadline = k_uptime_get() + 10000;
        }
    }
    return 0;
}

/*
 * Service MQTT until a connection or subscription callback sets the requested flag.
 * Args: flag - connection state to wait for.
 * Returns: Zero when set, or a negative session error/timeout.
 */
int waitFor(bool &flag) {
    const int64_t deadline = k_uptime_get() + 10000;
    while (!flag) {
        const int result = serviceMqtt();
        if (result < 0) return result;
        if (k_uptime_get() >= deadline) return -ETIMEDOUT;
    }
    return 0;
}

/*
 * Publish one retained valve state and update the local cache only after success.
 * Args: index - zero-based valve index.
 * Returns: Zero on success or a negative MQTT error.
 */
int publishStatus(unsigned index) {
    char topic[128];
    snprintf(topic, sizeof(topic), "%s/valve%u/state", root, index + 1);
    const valve::Status status = hardware::status(index);
    const int result = publishText(topic, valve::statusName(status));
    if (result == 0) {
        published[index] = status;
        publishedValid[index] = true;
    }
    return result;
}

/*
 * Publish all changed states promptly and refresh one valve periodically in round-robin order.
 * Args: None.
 * Returns: Zero on success or a negative MQTT error; failed periodic reports retry without advancing.
 */
int reportStatuses() {
    for (unsigned index = 0; index < motor::kValveCount; ++index) {
        if (!publishedValid[index] || hardware::status(index) != published[index]) {
            const int result = publishStatus(index);
            if (result < 0) return result;
        }
    }
    const int64_t now = k_uptime_get();
    if (now >= nextPeriodic) {
        const int result = publishStatus(nextValve);
        if (result < 0) {
            nextPeriodic = now + 2000;
            return result;
        }
        nextValve = (nextValve + 1) % motor::kValveCount;
        nextPeriodic = now + motor::kStatusIntervalMs;
    }
    return 0;
}

/*
 * Resolve the configured broker to an IPv4 socket address and release resolver storage.
 * Args: None.
 * Returns: Zero on success or a negative DNS/address error.
 */
int resolveBroker() {
    zsock_addrinfo hints{};
    hints.ai_family = AF_INET;
    hints.ai_socktype = SOCK_STREAM;
    zsock_addrinfo *addresses = nullptr;
    const int result = zsock_getaddrinfo(CONFIG_APP_MQTT_HOST, nullptr, &hints, &addresses);
    if (result != 0) {
        LOG_WRN("Broker DNS lookup failed: %d", result);
        return -EHOSTUNREACH;
    }
    if (addresses == nullptr || addresses->ai_addrlen != sizeof(broker)) {
        if (addresses != nullptr) zsock_freeaddrinfo(addresses);
        return -EADDRNOTAVAIL;
    }
    memcpy(&broker, addresses->ai_addr, sizeof(broker));
    broker.sin_port = htons(CONFIG_APP_MQTT_PORT);
    zsock_freeaddrinfo(addresses);
    return 0;
}

/*
 * Configure a clean MQTT session, establish subscriptions, and service it until failure.
 * The retained offline will is registered before connecting and takes effect when the socket aborts.
 * Args: None.
 * Returns: Zero only for a normal session end, otherwise a negative network/MQTT error.
 */
int mqttSession() {
    atomic_clear(&mqttReady);
    int result = resolveBroker();
    if (result < 0) return result;
    mqtt_client_init(&client);
    connected = false;
    subscribed = false;
    sessionError = 0;
    pingDeadline = 0;
    client.broker = &broker;
    client.evt_cb = mqttEvent;
    client.client_id = utf8(CONFIG_APP_MQTT_CLIENT_ID);
    client.protocol_version = MQTT_VERSION_3_1_1;
    client.transport.type = MQTT_TRANSPORT_NON_SECURE;
    client.rx_buf = rxBuffer;
    client.rx_buf_size = sizeof(rxBuffer);
    client.tx_buf = txBuffer;
    client.tx_buf_size = sizeof(txBuffer);
    client.keepalive = 30;
    client.clean_session = 1;
    /* Broker publishes retained offline if this connection disappears without a graceful disconnect. */
    mqtt_topic willTopic{utf8(availability), MQTT_QOS_0_AT_MOST_ONCE};
    mqtt_utf8 willMessage = utf8("offline");
    client.will_topic = &willTopic;
    client.will_message = &willMessage;
    client.will_retain = 1;
#if defined(CONFIG_APP_MQTT_AUTH)
    mqtt_utf8 username = utf8(CONFIG_APP_MQTT_USERNAME);
    mqtt_utf8 password = utf8(CONFIG_APP_MQTT_PASSWORD);
    client.user_name = &username;
    client.password = &password;
#endif
    result = mqtt_connect(&client);
    if (result < 0) return result;
    result = waitFor(connected);
    if (result == 0) {
        /* Subscribe to both supported command forms at QoS 1 before advertising availability. */
        mqtt_topic topics[] = {
            {utf8(CONFIG_APP_MQTT_ROOT "/+"), MQTT_QOS_1_AT_LEAST_ONCE},
            {utf8(CONFIG_APP_MQTT_ROOT "/+/set"), MQTT_QOS_1_AT_LEAST_ONCE},
        };
        mqtt_subscription_list subscriptions{};
        subscriptions.list = topics;
        subscriptions.list_count = ARRAY_SIZE(topics);
        subscriptions.message_id = 1;
        result = mqtt_subscribe(&client, &subscriptions);
    }
    if (result == 0) result = waitFor(subscribed);
    if (result == 0) result = publishText(availability, "online");
    if (result == 0) {
        memset(publishedValid, 0, sizeof(publishedValid));
        atomic_set(&mqttReady, 1);
        LOG_INF("MQTT connected and subscribed");
    }
    while (result == 0) {
        result = reportStatuses();
        if (result == 0) result = serviceMqtt();
    }
    atomic_clear(&mqttReady);
    /* Abort so the broker publishes the offline will, rather than leaving "online" retained. */
    const int aborted = mqtt_abort(&client);
    if (aborted < 0 && aborted != -ENOTCONN) LOG_WRN("MQTT socket cleanup failed: %d", aborted);
    return result;
}

/*
 * Reject missing or malformed Wi-Fi, broker, client-ID, and MQTT-root settings before connecting.
 * Args: None.
 * Returns: True when required values and supported lengths are valid.
 */
bool validConfiguration() {
    const size_t ssidLength = strlen(CONFIG_APP_WIFI_SSID);
    const size_t passwordLength = strlen(CONFIG_APP_WIFI_PASSWORD);
    if (ssidLength == 0 || ssidLength > 32 ||
        (passwordLength != 0 && (passwordLength < 8 || passwordLength > 63)) ||
        strlen(CONFIG_APP_MQTT_HOST) == 0 || strlen(CONFIG_APP_MQTT_CLIENT_ID) == 0 ||
        root[0] == '\0' || root[sizeof(root) - 2] == '/' || strpbrk(root, "+#") != nullptr) {
        LOG_ERR("Missing/invalid network configuration; copy local.conf.example to local.conf");
        return false;
    }
    return true;
}

}

namespace network {

/*
 * Read a coherent Wi-Fi/IP snapshot and derive MQTT readiness from the live session flag.
 * Returns: Current connection state and copied IPv4 octets.
 */
DisplaySnapshot displaySnapshot() {
    k_mutex_lock(&displayStatusMutex, K_FOREVER);
    DisplaySnapshot snapshot = publishedDisplayStatus;
    k_mutex_unlock(&displayStatusMutex);

    snapshot.wifiUp = snapshot.wifiUp && atomic_get(&wifiConnected) != 0;
    snapshot.mqttUp = snapshot.wifiUp && atomic_get(&mqttReady) != 0;
    if (!snapshot.wifiUp) memset(snapshot.ipv4, 0, sizeof(snapshot.ipv4));
    return snapshot;
}

}

/*
 * Validate configuration, connect Wi-Fi, and keep MQTT sessions alive with bounded retries.
 * Motion supervision runs in a separate thread throughout network outages and reconnect attempts.
 * Args: None.
 * Returns: None; the manager retries indefinitely after startup.
 */
void runNetwork() {
    if (!validConfiguration()) return;
    wifiInterface = net_if_get_wifi_sta();
    if (wifiInterface == nullptr) {
        LOG_ERR("No Wi-Fi station interface; networking disabled");
        return;
    }
    net_mgmt_init_event_callback(&wifiCallback, wifiEvent,
        NET_EVENT_WIFI_CONNECT_RESULT | NET_EVENT_WIFI_DISCONNECT_RESULT);
    net_mgmt_add_event_callback(&wifiCallback);
    nextPeriodic = k_uptime_get() + motor::kStatusIntervalMs;
    int64_t nextWifiAttempt = 0;
    int64_t nextMqttAttempt = 0;
    /* Retry association and broker sessions independently so Wi-Fi loss cannot stall motor checks. */
    for (;;) {
        updateDisplaySnapshot();
        const int64_t now = k_uptime_get();
        if (!atomic_get(&wifiConnected) && now >= nextWifiAttempt) {
            requestWifi();
            nextWifiAttempt = k_uptime_get() + reconnectMs;
        }
        if (networkReady() && now >= nextMqttAttempt) {
            const int result = mqttSession();
            LOG_WRN("MQTT session ended: %d; retrying", result);
            nextMqttAttempt = k_uptime_get() + reconnectMs;
        }
        k_sleep(K_MSEC(100));
    }
}
```
